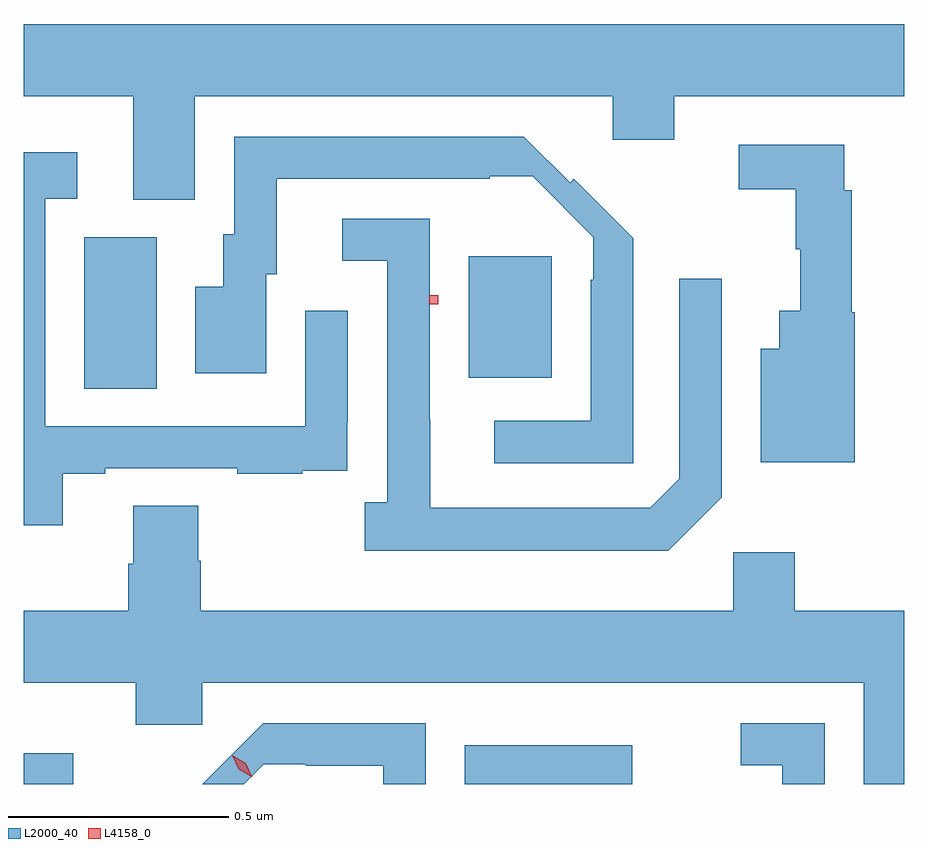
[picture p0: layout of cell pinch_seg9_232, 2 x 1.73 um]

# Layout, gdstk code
import gdstk
lib = gdstk.Library(unit=1e-6, precision=1e-09)
def R(c, l, rs):  # rectangles x0, y0, x1, y1
    for r in rs: c.add(gdstk.rectangle(r[:2], r[2:], *l))
def P(c, l, *ps):  # polygons
    for p in ps: c.add(gdstk.Polygon(p, *l))
L2000_40 = (2000, 40)
L4158_0 = (4158, 0)

pinch_seg9_232 = lib.new_cell('pinch_seg9_232')
R(pinch_seg9_232, L2000_40, [(618.506,1206.846,618.619,1206.916), (619.508,1206.846,619.888,1206.934), (618.644,1207.744,618.808,1208.088), (619.517,1207.769,619.705,1208.044)])
P(pinch_seg9_232, L2000_40, [(618.895,1208.408),(619.844,1208.408),(619.844,1208.309),(619.984,1208.309),(619.984,1208.408),(620.506,1208.408),(620.506,1208.572),(618.506,1208.572),(618.506,1208.408),(618.755,1208.408),(618.755,1208.173),(618.895,1208.173)],
  [(619.89,1208.085),(619.755,1208.22),(619.747,1208.212),(619.642,1208.316),(618.984,1208.316),(618.984,1208.094),(618.959,1208.094),(618.959,1207.975),(618.896,1207.975),(618.896,1207.779),(619.057,1207.779),(619.057,1208.004),(619.081,1208.004),(619.081,1208.22),(619.565,1208.22),(619.565,1208.226),(619.662,1208.226),(619.8,1208.088),(619.8,1207.991),(619.794,1207.991),(619.794,1207.671),(619.575,1207.671),(619.575,1207.575),(619.89,1207.575)],
  [(620.393,1207.917),(620.387,1207.917),(620.387,1208.195),(620.369,1208.195),(620.369,1208.298),(620.13,1208.298),(620.13,1208.197),(620.259,1208.197),(620.259,1208.061),(620.27,1208.061),(620.27,1207.921),(620.222,1207.921),(620.222,1207.834),(620.18,1207.834),(620.18,1207.577),(620.393,1207.577)],
  [(618.595,1207.551),(618.691,1207.551),(618.691,1207.563),(618.991,1207.563),(618.991,1207.551),(619.139,1207.551),(619.139,1207.557),(619.241,1207.557),(619.241,1207.666),(619.242,1207.666),(619.242,1207.921),(619.146,1207.921),(619.146,1207.659),(618.555,1207.659),(618.555,1208.175),(618.628,1208.175),(618.628,1208.281),(618.506,1208.281),(618.506,1207.434),(618.595,1207.434)],
  [(620.091,1207.497),(620.091,1207.993),(619.995,1207.993),(619.995,1207.539),(619.929,1207.473),(619.429,1207.473),(619.429,1207.673),(619.428,1207.673),(619.428,1208.13),(619.23,1208.13),(619.23,1208.034),(619.332,1208.034),(619.332,1207.486),(619.281,1207.486),(619.281,1207.376),(619.97,1207.376)],
  [(620.506,1207.24),(620.257,1207.24),(620.257,1207.372),(620.118,1207.372),(620.118,1207.24),(618.908,1207.24),(618.908,1207.353),(618.903,1207.353),(618.903,1207.478),(618.755,1207.478),(618.755,1207.346),(618.743,1207.346),(618.743,1207.24),(618.506,1207.24),(618.506,1207.076),(618.761,1207.076),(618.761,1206.981),(618.912,1206.981),(618.912,1207.076),(620.414,1207.076),(620.414,1206.846),(620.506,1206.846)],
  [(619.051,1206.891),(619.147,1206.891),(619.147,1206.888),(619.323,1206.888),(619.323,1206.846),(619.419,1206.846),(619.419,1206.984),(619.05,1206.984),(618.912,1206.846),(619.006,1206.846)],
  [(620.325,1206.984),(620.134,1206.984),(620.134,1206.889),(620.229,1206.889),(620.229,1206.846),(620.325,1206.846)])
R(pinch_seg9_232, L4158_0, [(619.427,1207.936,619.447,1207.956)])
P(pinch_seg9_232, L4158_0, [(619.025,1206.861),(618.995,1206.879),(618.98,1206.911),(618.98,1206.911),(618.98,1206.911),(619.01,1206.893),(619.025,1206.861),(619.025,1206.861)])

lib.write_gds('pinch_seg9_232.gds')
